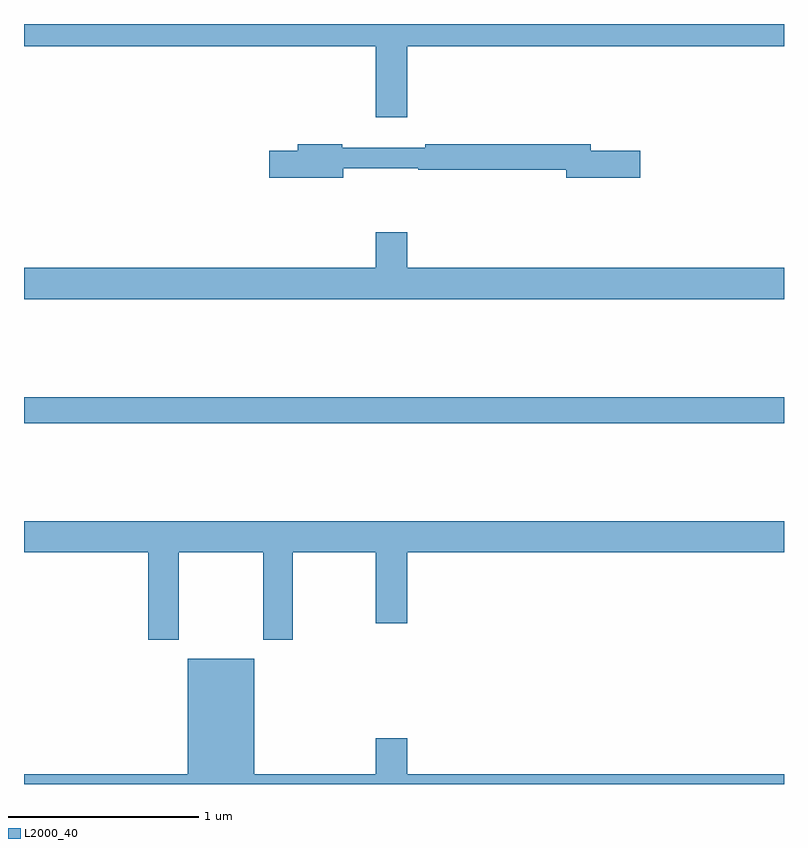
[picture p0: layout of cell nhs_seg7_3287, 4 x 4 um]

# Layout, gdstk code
import gdstk
lib = gdstk.Library(unit=1e-6, precision=1e-09)
def R(c, l, rs):  # rectangles x0, y0, x1, y1
    for r in rs: c.add(gdstk.rectangle(r[:2], r[2:], *l))
def P(c, l, *ps):  # polygons
    for p in ps: c.add(gdstk.Polygon(p, *l))
L2000_40 = (2000, 40)

nhs_seg7_3287 = lib.new_cell('nhs_seg7_3287')
R(nhs_seg7_3287, L2000_40, [(319,1063.9,323,1064.036)])
P(nhs_seg7_3287, L2000_40, [(321.016,1065.884),(323,1065.884),(323,1066),(319,1066),(319,1065.884),(320.852,1065.884),(320.852,1065.51),(321.016,1065.51)],
  [(320.68,1065.24),(321.076,1065.24),(321.076,1065.232),(321.854,1065.232),(321.854,1065.19),(322.243,1065.19),(322.243,1065.332),(321.982,1065.332),(321.982,1065.368),(321.112,1065.368),(321.112,1065.349),(320.676,1065.349),(320.676,1065.368),(320.441,1065.368),(320.441,1065.332),(320.292,1065.332),(320.292,1065.19),(320.68,1065.19)],
  [(323,1064.716),(321.016,1064.716),(321.016,1064.905),(320.852,1064.905),(320.852,1064.716),(319,1064.716),(319,1064.552),(323,1064.552)],
  [(319.815,1063.22),(320.26,1063.22),(320.26,1062.759),(320.415,1062.759),(320.415,1063.22),(320.852,1063.22),(320.852,1062.846),(321.016,1062.846),(321.016,1063.22),(323,1063.22),(323,1063.384),(319,1063.384),(319,1063.22),(319.655,1063.22),(319.655,1062.759),(319.815,1062.759)],
  [(323,1062.052),(321.016,1062.052),(321.016,1062.241),(320.852,1062.241),(320.852,1062.052),(320.212,1062.052),(320.212,1062.658),(319.862,1062.658),(319.862,1062.052),(319,1062.052),(319,1062),(323,1062)])

lib.write_gds('nhs_seg7_3287.gds')
